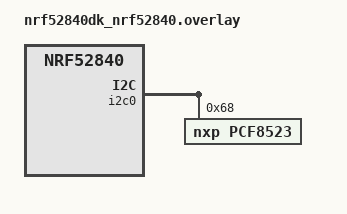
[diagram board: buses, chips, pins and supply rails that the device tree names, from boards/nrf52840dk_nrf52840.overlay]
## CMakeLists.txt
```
# SPDX-License-Identifier: Apache-2.0

cmake_minimum_required(VERSION 3.13.1)
find_package(Zephyr REQUIRED HINTS $ENV{ZEPHYR_BASE})
project(nxp_pcf8523)

FILE(GLOB app_sources src/*.c)
target_sources(app PRIVATE ${app_sources})
```

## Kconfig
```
# Copyright (c) 2021 Endian Technologies AB
#
# SPDX-License-Identifier: Apache-2.0
#

config APP_RESET_RTC
	bool "Option to reset the pcf8523 to 0"
	help
	  If enabled this will reset the rtc to start at timestamp 0.

source "Kconfig"
```

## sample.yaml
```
sample:
  name: NXP PCF8523 RTC
tests:
  sample.basic.nxp_pcf8523:
    build_only: true
    platform_allow: nrf52840dk_nrf52840
```

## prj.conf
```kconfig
CONFIG_PRINTK=y
CONFIG_POSIX_CLOCK=y
CONFIG_I2C=y
CONFIG_COUNTER=y
CONFIG_COUNTER_PCF8523_RTC=y

#CONFIG_LOG=y
#CONFIG_COUNTER_LOG_LEVEL_DBG=y
```

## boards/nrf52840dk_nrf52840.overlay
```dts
/*
 * Copyright (c) 2021 Endian Technologies AB
 *
 * SPDX-License-Identifier: Apache-2.0
 */

&i2c0 {
	status = "okay";
	pcf8523@68 {
		compatible = "nxp,pcf8523";
		reg = <0x68>;
		label = "PCF8523";
		pf = <0>;
		pm = <7>;
	};
};
```

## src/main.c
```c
/*
 * Copyright (c) 2021 Endian Technologies AB
 *
 * SPDX-License-Identifier: Apache-2.0
 */

#include <init.h>
#include <zephyr.h>
#include <device.h>
#include <stdio.h>
#include <posix/time.h>
#include <posix/sys/time.h>
#include <sys/printk.h>
#include <drivers/counter.h>
#include <drivers/rtc/pcf8523.h>

void show_clock()
{
	struct timespec tspec = { .tv_sec = 0, .tv_nsec = 0 };
	int res;

	res = clock_gettime(CLOCK_REALTIME, &tspec);
	if (res < 0) {
		printk("Failed to fetch current time\n");
		return;
	}
	struct tm *tm = gmtime(&tspec.tv_sec);

	printk("TIME(utc): %d:%d:%d - %d:%d:%d\n", tm->tm_year + 1900,
	       tm->tm_mon, tm->tm_mday, tm->tm_hour, tm->tm_min, tm->tm_sec);
}

void update_clock(const struct device *rtc)
{
	int ret;
	uint32_t ticks;
	struct timespec tspec = { .tv_sec = 0, .tv_nsec = 0 };

	ret = counter_get_value(rtc, &ticks);
	if (ret == 0) {
		tspec.tv_sec = ticks;
		ret = clock_settime(CLOCK_REALTIME, &tspec);
		printk("Time set from RTC: %u\n", ticks);
	} else {
		printk("RTC clock invalid\n");
	}
}

void main(void)
{
	const struct device *dev;
	const char *dev_id = DT_LABEL(DT_INST(0, nxp_pcf8523));

	dev = device_get_binding(dev_id);

	if (dev == NULL) {
		printk("Device not found! %s\n", dev_id);
		return;
	}

	if (IS_ENABLED(CONFIG_APP_RESET_RTC)) {
		int ret = pcf8523_rtc_set_time(dev, 0);
		if (ret) {
			printk("Failed to update the RTC\n");
			return;
		}
	}

	update_clock(dev);
	printk("Starting the clock\n");

	while (1) {
		show_clock();
		k_sleep(K_SECONDS(1));
	}
}
```
